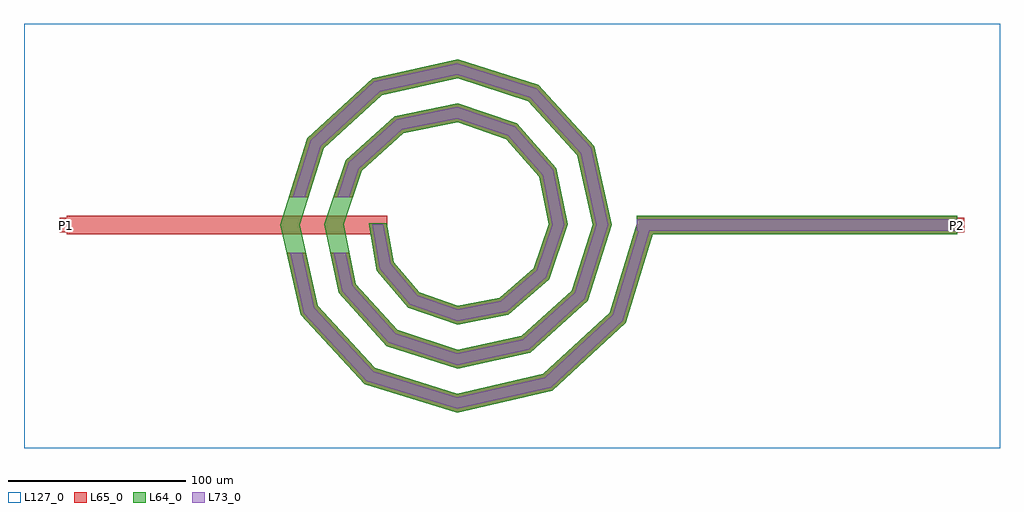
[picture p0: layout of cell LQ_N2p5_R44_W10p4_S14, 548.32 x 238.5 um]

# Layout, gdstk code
import gdstk
lib = gdstk.Library(unit=1e-6, precision=1e-09)
def R(c, l, rs):  # rectangles x0, y0, x1, y1
    for r in rs: c.add(gdstk.rectangle(r[:2], r[2:], *l))
def P(c, l, *ps):  # polygons
    for p in ps: c.add(gdstk.Polygon(p, *l))
L64_0 = (64, 0)
L65_0 = (65, 0)
L73_0 = (73, 0)
L127_0 = (127, 0)

lq_n2p5_r44_w10p4_s14 = lib.new_cell('LQ_N2p5_R44_W10p4_S14')
R(lq_n2p5_r44_w10p4_s14, L64_0, [(101.009,-5.2,281.009,5.2)])
P(lq_n2p5_r44_w10p4_s14, L64_0, [(-35.455,-20.981),(-21.258,-37.669),(0.407,-45.307),(24.02,-40.822),(42.986,-24.383),(51.474,0.363),(46.183,27.068),(27.5,48.308),(0.327,57.642),(-30.124,51.542),(-53.635,30.611),(-63.811,0.298),(-56.898,-33.185),(-33.718,-58.965),(0.274,-69.98),(36.249,-62.252),(64.297,-36.822),(76.15,0.253),(67.605,39.317),(39.923,69.63),(0.235,82.319),(-42.387,72.957),(-74.965,43.021),(-88.489,0.22),(-78.307,-45.459),(-46.119,-80.301),(0.206,-94.659),(48.533,-83.657),(85.638,-49.214),(101.239,1.528),(111.179,-1.528),(94.759,-54.938),(53.563,-93.178),(0.206,-105.419),(-51.864,-89.409),(-87.84,-50.466),(-99.248,0.22),(-84.058,48.79),(-47.368,82.504),(0.235,93.077),(45.719,78.705),(77.168,44.268),(86.907,0.253),(73.352,-42.65),(41.165,-71.834),(0.274,-80.735),(-39.583,-67.997),(-66.501,-38.06),(-74.564,0.298),(-62.639,36.52),(-34.95,61.17),(0.327,68.392),(33.461,57.279),(55.841,31.836),(62.22,0.363),(51.914,-30.407),(28.714,-50.516),(0.407,-56.047),(-27.362,-46.544),(-45.195,-25.582),(-49.625,0.919),(-39.389,0.919)])
R(lq_n2p5_r44_w10p4_s14, L65_0, [(-219.307,-5.2,-39.307,5.2), (101.009,-5.2,281.009,5.2), (-223.307,-4,-215.307,4), (277.009,-4,285.009,4)])
P(lq_n2p5_r44_w10p4_s14, L65_0, [(-78.307,-45.459),(-46.119,-80.301),(0.206,-94.659),(48.533,-83.657),(85.638,-49.214),(101.239,1.528),(111.18,-1.528),(94.759,-54.938),(53.563,-93.178),(0.206,-105.419),(-51.864,-89.409),(-87.841,-50.466),(-95.688,-15.6),(-85.028,-15.6)],
  [(-56.898,-33.185),(-33.718,-58.965),(0.274,-69.98),(36.249,-62.252),(64.297,-36.822),(76.15,0.253),(67.605,39.317),(39.923,69.63),(0.235,82.319),(-42.387,72.957),(-74.965,43.022),(-83.541,15.6),(-94.438,15.6),(-84.058,48.79),(-47.368,82.504),(0.235,93.077),(45.719,78.706),(77.168,44.268),(86.907,0.253),(73.352,-42.65),(41.165,-71.834),(0.274,-80.735),(-39.583,-67.997),(-66.501,-38.06),(-71.222,-15.6),(-60.595,-15.6)],
  [(-21.258,-37.669),(0.407,-45.307),(24.02,-40.822),(42.986,-24.383),(51.474,0.363),(46.183,27.068),(27.5,48.308),(0.327,57.643),(-30.124,51.542),(-53.635,30.611),(-58.577,15.6),(-69.526,15.6),(-62.639,36.52),(-34.95,61.17),(0.327,68.392),(33.461,57.279),(55.841,31.836),(62.22,0.363),(51.914,-30.407),(28.714,-50.516),(0.407,-56.047),(-27.362,-46.544),(-45.195,-25.582),(-49.625,0.919),(-39.389,0.919),(-35.455,-20.981)])
R(lq_n2p5_r44_w10p4_s14, L73_0, [(101.009,-3.2,281.009,3.2)])
P(lq_n2p5_r44_w10p4_s14, L73_0, [(-80.141,-46.422),(-47.223,-82.053),(0.127,-96.728),(49.5,-85.488),(87.392,-50.315),(103.15,0.94),(109.268,0.94),(93.005,-53.837),(52.596,-91.347),(0.127,-103.35),(-50.759,-87.657),(-86.007,-49.503),(-93.638,-15.6),(-87.078,-15.6)],
  [(-58.745,-34.122),(-34.846,-60.702),(0.169,-72.049),(37.195,-64.095),(66.038,-37.943),(78.218,0.156),(69.444,40.269),(41.037,71.376),(0.145,84.388),(-43.345,74.793),(-76.714,44.131),(-85.637,15.6),(-92.343,15.6),(-82.309,47.681),(-46.41,80.668),(0.145,91.009),(44.604,76.96),(75.329,43.316),(84.838,0.156),(71.611,-41.529),(40.22,-69.991),(0.169,-78.667),(-38.455,-66.26),(-64.654,-37.122),(-69.178,-15.6),(-62.638,-15.6)],
  [(-22.432,-39.375),(0.25,-47.372),(24.923,-42.686),(44.703,-25.542),(53.541,0.223),(48.041,27.985),(28.646,50.033),(0.202,59.71),(-31.052,53.394),(-55.367,31.748),(-60.683,15.6),(-67.421,15.6),(-60.908,35.383),(-34.022,59.318),(0.202,66.325),(32.314,55.554),(53.984,30.919),(60.154,0.223),(50.197,-29.249),(27.811,-48.652),(0.25,-53.982),(-26.188,-44.837),(-43.322,-24.698),(-47.656,0.566),(-41.357,0.566),(-37.328,-21.866)])
R(lq_n2p5_r44_w10p4_s14, L127_0, [(-243.307,-125.419,305.009,113.077)])
lq_n2p5_r44_w10p4_s14.add(gdstk.Label('P2', (281.009,0), layer=65, texttype=0))
lq_n2p5_r44_w10p4_s14.add(gdstk.Label('P1', (-219.307,0), layer=65, texttype=0))
lq_n2p5_r44_w10p4_s14.add(gdstk.Label('P2', (285.009,0), layer=145, texttype=0))
lq_n2p5_r44_w10p4_s14.add(gdstk.Label('P1', (-223.307,0), layer=145, texttype=0))

lib.write_gds('LQ_N2p5_R44_W10p4_S14.gds')
